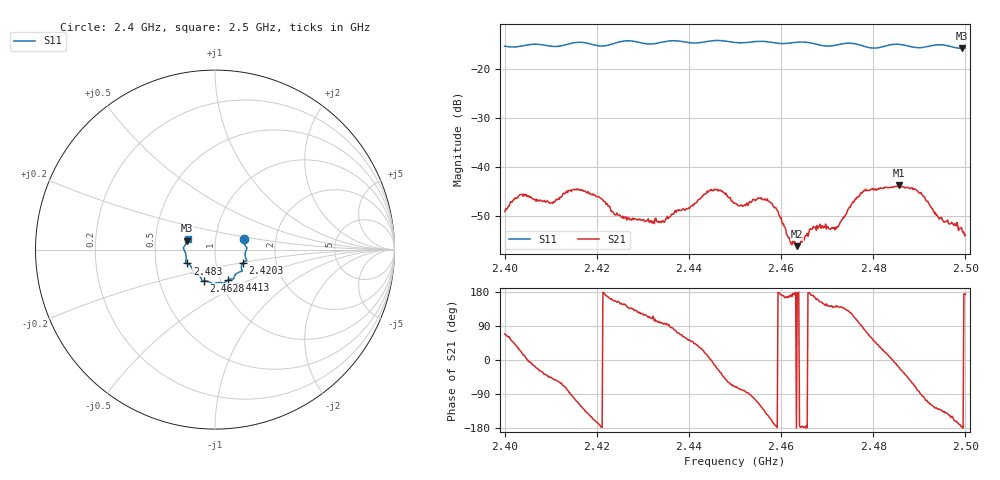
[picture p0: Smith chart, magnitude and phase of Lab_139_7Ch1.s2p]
# Hz S RI R 50
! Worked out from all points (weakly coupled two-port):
!   601 points, 2.4 GHz to 2.5 GHz, reference 50 ohm
!   highest |S21| = -43.81 dB at 2.4857 GHz (marker M1); lowest = -56.2 dB at 2.4635 GHz (marker M2)
!   lowest |S11| = -15.8 dB at 2.4993 GHz (marker M3), VSWR 1.39, Z = 36.5 + j3.69 ohm
!   |S11| at or under -10 dB: start of sweep to end of sweep
!   S12 and S22 are empty: the file has one direction only
!   S11 on the Smith chart (normalised r, x): 2.4 GHz: 1.37, +0.16; 2.4203 GHz: 1.35, -0.21; 2.4413 GHz: 1.09, -0.38; 2.4628 GHz: 0.83, -0.30; 2.483 GHz: 0.72, -0.11; 2.5 GHz: 0.73, +0.09
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2.4e9  0.1607 0.0571  0.00128 0.00324  0 0  0 0
2.403667e9  0.1699 0.0203  0.0049 0.00175  0 0  0 0
2.410167e9  0.1699 -0.0116  0.00294 -0.00311  0 0  0 0
2.416667e9  0.1764 -0.0614  -0.00312 -0.0049  0 0  0 0
2.420333e9  0.1552 -0.0741  -0.00482 -0.00107  0 0  0 0
2.425667e9  0.1514 -0.1179  -0.00263 0.00169  0 0  0 0
2.433333e9  0.1081 -0.1485  -0.000458 0.00273  0 0  0 0
2.441333e9  0.0745 -0.1681  0.00306 0.0029  0 0  0 0
2.445667e9  0.0506 -0.188  0.00572 -0.00147  0 0  0 0
2.45e9  0.0293 -0.1836  0.0014 -0.00401  0 0  0 0
2.4575e9  -0.0196 -0.1868  -0.00387 -0.00203  0 0  0 0
2.462833e9  -0.0631 -0.1747  -0.00173 0.000225  0 0  0 0
2.4635e9  -0.0667 -0.1749  -0.00154 7.47e-05  0 0  0 0
2.466667e9  -0.0741 -0.1675  -0.00225 0.000373  0 0  0 0
2.472e9  -0.111 -0.1355  -0.0018 0.0015  0 0  0 0
2.477833e9  -0.1239 -0.1176  0.000566 0.00563  0 0  0 0
2.483e9  -0.1549 -0.077  0.00589 0.00165  0 0  0 0
2.483333e9  -0.1572 -0.0759  0.00601 0.00122  0 0  0 0
2.485667e9  -0.1639 -0.0693  0.00603 -0.00229  0 0  0 0
2.489333e9  -0.1608 -0.0369  0.00156 -0.00561  0 0  0 0
2.499333e9  -0.1543 0.0493  -0.00218 -0.000171  0 0  0 0
2.5e9  -0.1525 0.0585  -0.00199 0.000238  0 0  0 0
